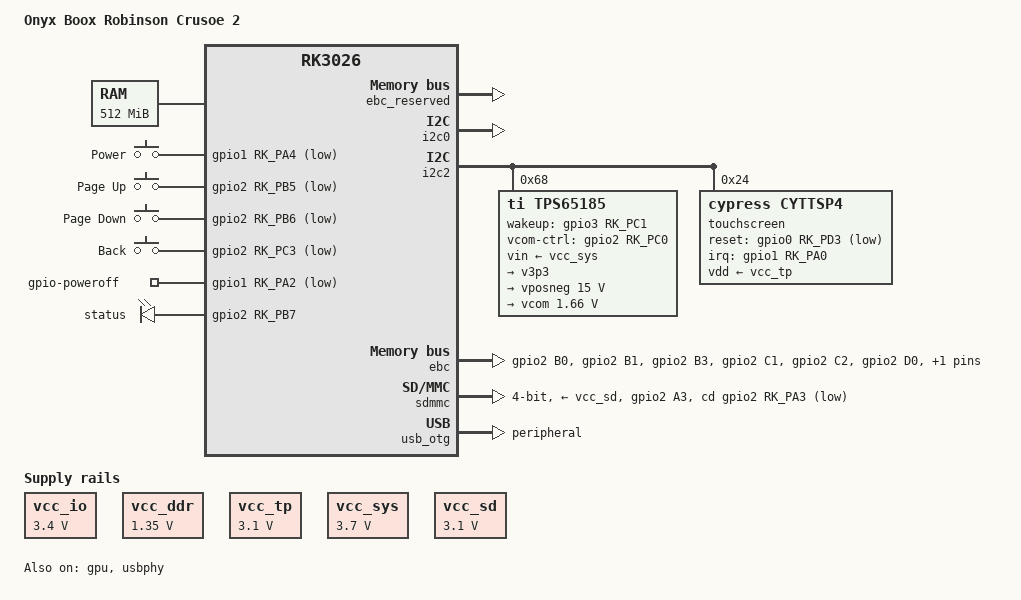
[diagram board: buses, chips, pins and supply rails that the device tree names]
// SPDX-License-Identifier: (GPL-2.0+ OR MIT)
/*
 * ONYX BOOX Robinson Crusoe 2 (MC_Kepler_R2, pcb V1.73), RK3026, 512 MiB DDR3.
 *
 * First-light description. The board boots from the microSD slot through a
 * loader that hands over like the stock RK3026 loader: r2 = ATAG list (core +
 * cmdline, no ATAG_MEM), MMU and caches off, PLLs, PMIC and DDR as the DDR
 * init left them, CPU1 held in reset, IMEM mapped at 0 (GRF_SOC_CON0 bit 12),
 * power hold (GPIO1_A2) high. The DTB is appended to the zImage.
 *
 * Power-off drops the power hold: on battery the ACT8931 then switches every
 * rail off, as the stock kernel's last power-off step does. With USB power
 * present the board stays up and the kernel waits with the hold low, so
 * unplugging the cable switches it off.
 *
 * Deliberately left out until each part is checked on the board:
 *  - the eMMC (0x1021c000) and the NAND controller (0x10500000): the NFC pads
 *    are the eMMC data lines on this board. Both nodes are deleted;
 *  - control of the ACT8931 (i2c0 0x5b) beyond the CPU supply: its other
 *    rails are described as fixed regulators at the voltages the chip
 *    holds, and its node in rk3026-onyx-rc2-sys.dtsi keeps every output
 *    but DCDC3 at that voltage (the act8865 driver, a module loaded after
 *    /init). The one ACT8931 write the panel needs, LDO4 (the panel logic
 *    rail, off at power-on) on, comes from /init before the EBC driver is
 *    loaded;
 *  - audio, Bluetooth;
 *
 * The panel: the EBC with the stock ED060 1448x1072 timings and the TPS65185
 * EPD PMIC on i2c2, whose high-voltage rails and VCOM the EBC driver switches
 * on only around refreshes. The touch controller shares i2c2 with it.
 *
 * cpufreq scales voltage and frequency: the CPUs' supply is ACT8931 DCDC3,
 * and cpufreq-dt probes once the act8865 module has bound it.
 *
 * System devices (fuel gauge and charger presence, RTC, front light, cover
 * switch, vibrator, Wi-Fi power and the USB host port) are described in
 * rk3026-onyx-rc2-sys.dtsi, included at the end.
 */

/dts-v1/;
#include "rk3026.dtsi"
#include <dt-bindings/input/input.h>

/*
 * CPU operating point voltages, the one place to change them (target =
 * minimum = maximum in each opp-microvolt). The Rockchip RK3026 SDK table
 * (rk3026-tb): 312 MHz 0.95 V, 504 MHz 1.00 V, 816 MHz 1.20 V, 912 MHz
 * 1.25 V, 1008 MHz 1.35 V. Every value must be an ACT8931 DCDC3 step:
 * 0.6 V + 25 mV up to 1.175 V, 1.2 V + 50 mV from there (0.95 V = 0x0e,
 * 1.00 V = 0x10, 1.20 V = 0x18, 1.30 V = 0x1a, 1.35 V = 0x1b), and at
 * most 1.40 V (0x1c, the SoC's absolute maximum).
 */
#define RC2_OPP_UV_312		950000
#define RC2_OPP_UV_504		1000000
#define RC2_OPP_UV_816		1200000
/*
 * 912 MHz: one step above the SDK's 1.25 V. A frequency x voltage sweep of
 * this board (2026-10-19, 24 degC) passed 912 MHz at 1.25 V and hung at
 * 1.20 V, so 1.25 V has no margin on it.
 */
#define RC2_OPP_UV_912		1300000
#define RC2_OPP_UV_1008		1350000
/*
 * DCDC3 ramp for a raise, uV/us: the ACT8931 datasheet gives no slew rate
 * for a VSET change, so a conservative 0.5 mV/us (0.95 -> 1.30 V: 700 us).
 */
#define RC2_VDD_ARM_RAMP	500

/delete-node/ &emmc;
/delete-node/ &nfc;

/ {
	model = "Onyx Boox Robinson Crusoe 2";
	compatible = "onyx,rc2", "rockchip,rk3026";

	aliases {
		mmc0 = &sdmmc;
	};

	memory@60000000 {
		device_type = "memory";
		reg = <0x60000000 0x20000000>; /* 512 MiB */
	};

	/*
	 * The top 1 MiB is the stock waveform window: the stock kernel keeps it
	 * out of its RAM, the loader puts the waveform at its start and its own
	 * text log at 0x7fff0000. The part in between is unused by the stock
	 * kernel, so the ramoops buffer there can be read back after a reset
	 * from either kernel.
	 */
	reserved-memory {
		#address-cells = <1>;
		#size-cells = <1>;
		ranges;

		waveform@7ff00000 {
			reg = <0x7ff00000 0x40000>;
			no-map;
		};

		ramoops@7ff40000 {
			compatible = "ramoops";
			reg = <0x7ff40000 0x80000>;
			console-size = <0x40000>;
			record-size = <0x20000>;
		};

		loader-log@7ffc0000 {
			reg = <0x7ffc0000 0x40000>;
			no-map;
		};

		/*
		 * EBC images (two 4 bpp frames of 776 128 B, adjacent), 10 MiB
		 * as on the C67ML, right below the top MiB so it stays clear of
		 * the waveform, ramoops and loader windows. U-Boot puts the FDT
		 * and an initrd below 0x70000000.
		 */
		ebc_reserved: ebc@7f500000 {
			compatible = "shared-dma-pool";
			reg = <0x7f500000 0xa00000>;
			no-map;
		};
	};

	cpus {
		/* The loader sets the IMEM remap and holds CPU1 in reset. */
		enable-method = "rockchip,rk3036-smp";
	};

	/*
	 * The Rockchip SDK's operating points, voltages above. cpufreq-dt
	 * raises the voltage before the frequency and lowers it after.
	 * The loader leaves the CPU at 600 MHz and DCDC3 at 1.40 V; 600 MHz
	 * is not in the table, so the cpufreq core moves the policy to the
	 * next rate up when it starts, 816 MHz, setting 1.20 V first (600 MHz
	 * at 1.20 V is inside what the sweep passed). 816 MHz is also the
	 * suspend point, which the cpufreq core sets before a reboot or a
	 * power-off: the loader then starts at 600 MHz with 1.20 V. 1008 MHz
	 * is a boost point, off until /sys/devices/system/cpu/cpufreq/boost
	 * is set.
	 */
	cpu_opp_table: opp-table-cpu {
		compatible = "operating-points-v2";
		opp-shared;

		opp-312000000 {
			opp-hz = /bits/ 64 <312000000>;
			opp-microvolt = <RC2_OPP_UV_312 RC2_OPP_UV_312 RC2_OPP_UV_312>;
		};

		opp-504000000 {
			opp-hz = /bits/ 64 <504000000>;
			opp-microvolt = <RC2_OPP_UV_504 RC2_OPP_UV_504 RC2_OPP_UV_504>;
		};

		opp-816000000 {
			opp-hz = /bits/ 64 <816000000>;
			opp-microvolt = <RC2_OPP_UV_816 RC2_OPP_UV_816 RC2_OPP_UV_816>;
			opp-suspend;
		};

		opp-912000000 {
			opp-hz = /bits/ 64 <912000000>;
			opp-microvolt = <RC2_OPP_UV_912 RC2_OPP_UV_912 RC2_OPP_UV_912>;
		};

		opp-1008000000 {
			opp-hz = /bits/ 64 <1008000000>;
			opp-microvolt = <RC2_OPP_UV_1008 RC2_OPP_UV_1008 RC2_OPP_UV_1008>;
			turbo-mode;
		};
	};

	/*
	 * ACT8931 rails, as fixed regulators at the selectors the chip holds
	 * (VSET2 bank, read on this board). DCDC3 (vdd_arm) is the PMIC
	 * node's, in rk3026-onyx-rc2-sys.dtsi.
	 */
	vcc_io: regulator-vcc-io {
		compatible = "regulator-fixed";
		regulator-name = "vcc_io";		/* DCDC1 */
		regulator-min-microvolt = <3400000>;
		regulator-max-microvolt = <3400000>;
		regulator-always-on;
		regulator-boot-on;
	};

	vcc_ddr: regulator-vcc-ddr {
		compatible = "regulator-fixed";
		regulator-name = "vcc_ddr";		/* DCDC2 */
		regulator-min-microvolt = <1350000>;
		regulator-max-microvolt = <1350000>;
		regulator-always-on;
		regulator-boot-on;
	};

	vcc_tp: regulator-vcc-tp {
		compatible = "regulator-fixed";
		regulator-name = "vcc_tp";		/* LDO1, touch */
		regulator-min-microvolt = <3100000>;
		regulator-max-microvolt = <3100000>;
		regulator-always-on;
		regulator-boot-on;
	};

	/*
	 * The TPS65185's VIN, the battery / charger system rail; nothing
	 * switches it. The voltage is nominal.
	 */
	vcc_sys: regulator-vcc-sys {
		compatible = "regulator-fixed";
		regulator-name = "vcc_sys";
		regulator-min-microvolt = <3700000>;
		regulator-max-microvolt = <3700000>;
		regulator-always-on;
		regulator-boot-on;
	};

	vcc_sd: regulator-vcc-sd {
		compatible = "regulator-fixed";
		regulator-name = "vcc_sd";		/* LDO3, microSD */
		regulator-min-microvolt = <3100000>;
		regulator-max-microvolt = <3100000>;
		regulator-always-on;
		regulator-boot-on;
	};

	gpio-keys {
		compatible = "gpio-keys";
		pinctrl-names = "default";
		pinctrl-0 = <&pwr_key &page_keys>;

		key-power {
			label = "Power";
			gpios = <&gpio1 RK_PA4 GPIO_ACTIVE_LOW>;
			linux,code = <KEY_POWER>;
			wakeup-source;
		};

		key-pageup {
			label = "Page Up";
			gpios = <&gpio2 RK_PB5 GPIO_ACTIVE_LOW>;
			linux,code = <KEY_PAGEUP>;
			debounce-interval = <20>;
			wakeup-source;
		};

		key-pagedown {
			label = "Page Down";
			gpios = <&gpio2 RK_PB6 GPIO_ACTIVE_LOW>;
			linux,code = <KEY_PAGEDOWN>;
			debounce-interval = <20>;
			wakeup-source;
		};

		key-back {
			label = "Back";
			gpios = <&gpio2 RK_PC3 GPIO_ACTIVE_LOW>;
			linux,code = <KEY_BACK>;
			debounce-interval = <20>;
			wakeup-source;
		};
	};

	/*
	 * Power hold (ACT8931 PWRHLD): the loader drives it high, the driver
	 * keeps it high from probe on and drives it low to power off. On
	 * battery the PMIC then switches every rail off; the line is not
	 * driven back high while they fall. USB power keeps the board up:
	 * rather than give up after a few seconds and return into a system
	 * whose devices are already shut down, wait with the line low (CPU0
	 * spins with interrupts off, like a halt), so unplugging the cable
	 * switches the board off.
	 */
	gpio-poweroff {
		compatible = "gpio-poweroff";
		gpios = <&gpio1 RK_PA2 GPIO_ACTIVE_LOW>;
		pinctrl-names = "default";
		pinctrl-0 = <&pwr_hold>;
		active-delay-ms = <3000>;
		timeout-ms = <0xffffffff>;
	};

	/*
	 * The panel thermometer in the TPS65185, which selects the waveform
	 * temperature range. No trips: nothing is cooled.
	 */
	thermal-zones {
		epd-thermal {
			polling-delay = <0>;
			polling-delay-passive = <0>;
			thermal-sensors = <&tps65185>;
		};
	};

	leds {
		compatible = "gpio-leds";
		pinctrl-names = "default";
		pinctrl-0 = <&led_pin>;

		led-0 {
			label = "status";
			gpios = <&gpio2 RK_PB7 GPIO_ACTIVE_HIGH>;
			/* dark by default; "heartbeat" via sysfs when a test needs it */
			linux,default-trigger = "none";
			panic-indicator;
		};
	};
};

/*
 * i2c0: ACT8931 at 0x5b, CW2015 at 0x62 and HYM8563 at 0x51, all described
 * in rk3026-onyx-rc2-sys.dtsi. /init makes the one LDO4 write through
 * i2c-dev before the ACT8931's driver can be loaded.
 */
&cpu0 {
	operating-points-v2 = <&cpu_opp_table>;
	cpu-supply = <&vdd_arm>;
};

&cpu1 {
	operating-points-v2 = <&cpu_opp_table>;
	cpu-supply = <&vdd_arm>;
};

&i2c0 {
	status = "okay";
};

/* i2c2: the TPS65185 EPD PMIC (0x68) and the touch controller (0x24). */
&i2c2 {
	status = "okay";

	/*
	 * No PWRUP and no PWR_GOOD pin on this board: the driver powers the
	 * rails through the ENABLE register and polls PG. WAKEUP is high from
	 * the loader on (the chip answers on a cold boot); VCOM_CTRL is the
	 * vcom regulator's enable. The values below are what the chip holds
	 * (read on this board): VADJ 0x03 = 15 V, VCOM1 0xa6 / VCOM2 b0 = 0 =
	 * 1.66 V in 10 mV steps, ENABLE 0x20 = V3P3 switch on. With min = max
	 * equal to the held value the regulator core reads it back and writes
	 * nothing.
	 *
	 * VADJ and the power sequence are reloaded from the chip's EEPROM on a
	 * WAKEUP rising edge or a power loss, so the driver writes the stock
	 * values at probe: VADJ 3 (15 V, the same value the vposneg constraint
	 * names, so the two never disagree), UPSEQ0/1 0x39 / 0x11 (VDDH, VNEG,
	 * VEE, VPOS), DWNSEQ0/1 0x00 / 0x00 (all rails off together).
	 */
	tps65185: pmic@68 {
		compatible = "ti,tps65185";
		reg = <0x68>;
		vin-supply = <&vcc_sys>;
		wakeup-gpios = <&gpio3 RK_PC1 GPIO_ACTIVE_HIGH>;
		vcom-ctrl-gpios = <&gpio2 RK_PC0 GPIO_ACTIVE_HIGH>;
		#thermal-sensor-cells = <0>;
		pinctrl-names = "default";
		pinctrl-0 = <&tps65185_pins>;
		ti,vadj = <3>;
		ti,up-sequence = /bits/ 8 <0x39 0x11>;
		ti,down-sequence = /bits/ 8 <0x00 0x00>;

		regulators {
			/*
			 * The 3.3 V switch is on at idle under the stock
			 * kernel too; always-on keeps the core from switching
			 * it off as unused.
			 */
			v3p3: v3p3 {
				regulator-name = "v3p3";
				regulator-always-on;
			};

			vposneg: vposneg {
				regulator-name = "vposneg";
				regulator-min-microvolt = <15000000>;
				regulator-max-microvolt = <15000000>;
			};

			/* Magnitude: the rail is -1.66 V. */
			vcom: vcom {
				regulator-name = "vcom";
				regulator-min-microvolt = <1660000>;
				regulator-max-microvolt = <1660000>;
			};
		};
	};

	/*
	 * Cypress TrueTouch Gen4. The controller reports X along the short
	 * side of the panel; the stock driver swaps the axes and inverts
	 * its Y, i.e. the controller's X before the swap.
	 */
	touchscreen@24 {
		compatible = "cypress,cyttsp4";
		reg = <0x24>;
		interrupt-parent = <&gpio1>;
		interrupts = <RK_PA0 IRQ_TYPE_LEVEL_LOW>;
		pinctrl-names = "default";
		pinctrl-0 = <&tp_irq &tp_rst>;
		reset-gpios = <&gpio0 RK_PD3 GPIO_ACTIVE_LOW>;
		vdd-supply = <&vcc_tp>;
		touchscreen-swapped-x-y;
		touchscreen-inverted-x;
	};
};

/*
 * ED060 1448x1072 panel, mounted at 270 degrees. Timings as the stock kernel
 * programs them (source clock 40 MHz: frame 442 x 1082 clocks = 11.96 ms).
 * dclk_ebc runs at four times the source clock, 160 MHz = CPLL 640 MHz / 4,
 * the stock clock tree; CPLL is in slow mode when the loader hands over, so
 * its rate is set here first. No dclk-parent: dclk_ebc is parented to CPLL
 * by assigned-clock-parents, and the driver then only sets the rate it already
 * has. Only the pads the board routes to the EBC: GPIO2_B2 (SDOE) and B4
 * (SDCE2) are board GPIOs here, and GPIO2_C0 (EBC_VCOM) is the TPS65185
 * VCOM_CTRL line.
 */
&ebc {
	clocks = <&cru HCLK_EBC>, <&cru DCLK_EBC>, <&cru ACLK_LCDC1>,
		 <&cru ACLK_EBC>;
	clock-names = "hclk", "dclk", "aclk", "mclk";
	assigned-clocks = <&cru PLL_CPLL>, <&cru DCLK_EBC>;
	assigned-clock-parents = <0>, <&cru PLL_CPLL>;
	assigned-clock-rates = <640000000>, <160000000>;
	pinctrl-names = "default";
	pinctrl-0 = <&ebc_pins_rc2>;
	memory-region = <&ebc_reserved>;
	/*
	 * No v3p3-supply: the panel logic rail is the ACT8931's LDO4, which
	 * /init switches on before the driver loads.
	 */
	epd-supply = <&vposneg>;
	vcom-supply = <&vcom>;
	rockchip,gdck-sta = <100>;
	rockchip,lgonl = <281>;
	rotation = <270>;
	status = "okay";

	panel-timing {
		clock-frequency = <40000000>;
		hactive = <1448>;
		vactive = <1072>;
		hsync-len = <17>;
		hback-porch = <8>;
		hfront-porch = <55>;
		vsync-len = <2>;
		vback-porch = <4>;
		vfront-porch = <4>;
	};
};

&gpu {
	status = "okay";
};

&pinctrl {
	keys {
		pwr_key: pwr-key {
			rockchip,pins = <1 RK_PA4 RK_FUNC_GPIO &pcfg_pull_default>;
		};

		page_keys: page-keys {
			rockchip,pins = <2 RK_PB5 RK_FUNC_GPIO &pcfg_pull_default>,
					<2 RK_PB6 RK_FUNC_GPIO &pcfg_pull_default>,
					<2 RK_PC3 RK_FUNC_GPIO &pcfg_pull_default>;
		};
	};

	leds {
		led_pin: led-pin {
			rockchip,pins = <2 RK_PB7 RK_FUNC_GPIO &pcfg_pull_none>;
		};
	};

	power {
		pwr_hold: pwr-hold {
			rockchip,pins = <1 RK_PA2 RK_FUNC_GPIO &pcfg_pull_default>;
		};
	};

	ebc {
		/*
		 * SDCLK, SDLE, GDCLK (GPIO2_B0, B1, B3), GDOE, GDSP (C1, C2),
		 * GDPWR1, GDPWR2 (D0, D1): the pads stock muxes to the EBC.
		 */
		ebc_pins_rc2: ebc-pins-rc2 {
			rockchip,pins = <2 RK_PB0 2 &pcfg_pull_none>,
					<2 RK_PB1 2 &pcfg_pull_none>,
					<2 RK_PB3 2 &pcfg_pull_none>,
					<2 RK_PC1 2 &pcfg_pull_none>,
					<2 RK_PC2 2 &pcfg_pull_none>,
					<2 RK_PD0 2 &pcfg_pull_none>,
					<2 RK_PD1 2 &pcfg_pull_none>;
		};
	};

	tps65185 {
		/* WAKEUP (GPIO3_C1) and VCOM_CTRL (GPIO2_C0) as GPIOs. */
		tps65185_pins: tps65185-pins {
			rockchip,pins = <3 RK_PC1 RK_FUNC_GPIO &pcfg_pull_default>,
					<2 RK_PC0 RK_FUNC_GPIO &pcfg_pull_default>;
		};
	};

	touchscreen {
		tp_irq: tp-irq {
			rockchip,pins = <1 RK_PA0 RK_FUNC_GPIO &pcfg_pull_none>;
		};

		tp_rst: tp-rst {
			rockchip,pins = <0 RK_PD3 RK_FUNC_GPIO &pcfg_pull_none>;
		};
	};

	sdmmc {
		/* On eMMC boards the card detect is GPIO2_A3, not GPIO1_C1. */
		sdmmc_cd_gpio: sdmmc-cd-gpio {
			rockchip,pins = <2 RK_PA3 RK_FUNC_GPIO &pcfg_pull_default>;
		};
	};
};

/*
 * The SD clock as the vendor kernel runs it: GPLL 768 MHz / 16 = 48 MHz, so
 * the controller's divider gives 24 MHz on the card for 25 MHz and 400 kHz
 * for identification. Pinned to GPLL so it never follows CPLL, which the EBC
 * driver reprograms.
 */
&sdmmc {
	assigned-clocks = <&cru SCLK_SDMMC>;
	assigned-clock-parents = <&cru PLL_GPLL>;
	assigned-clock-rates = <48000000>;
	bus-width = <4>;
	cap-sd-highspeed;
	max-frequency = <25000000>;
	cd-gpios = <&gpio2 RK_PA3 GPIO_ACTIVE_LOW>;
	disable-wp;
	fifo-mode;
	pinctrl-names = "default";
	pinctrl-0 = <&sdmmc_clk &sdmmc_cmd &sdmmc_bus4 &sdmmc_cd_gpio>;
	vmmc-supply = <&vcc_sd>;
	status = "okay";
};

&usbphy {
	status = "okay";
};

&usb_otg {
	dr_mode = "peripheral";
	status = "okay";
};

#include "rk3026-onyx-rc2-sys.dtsi"
